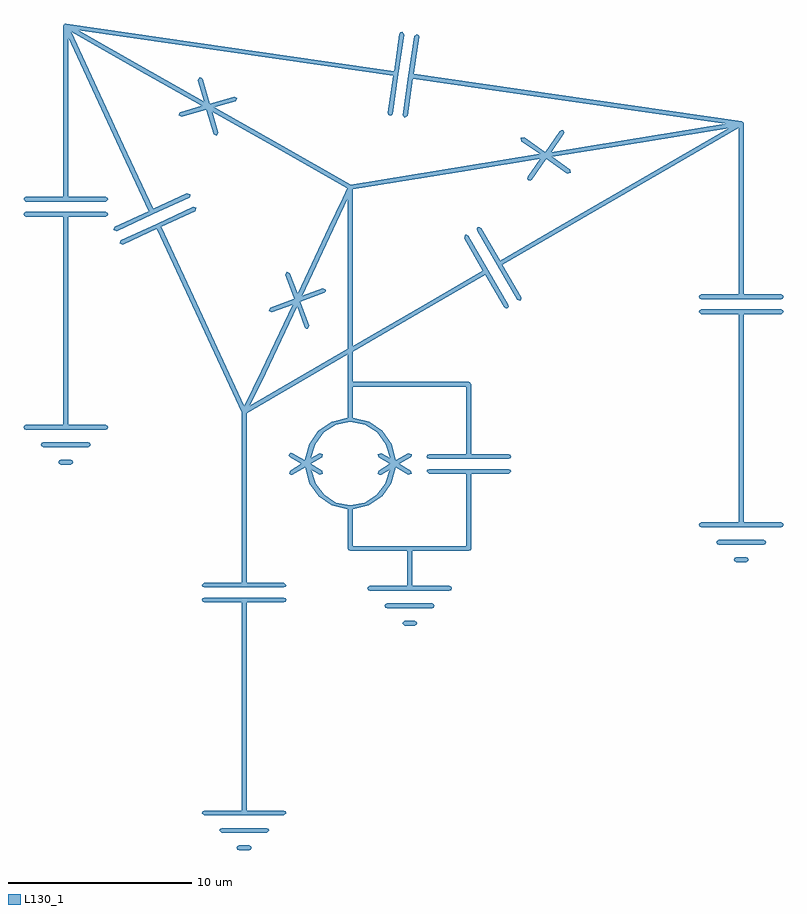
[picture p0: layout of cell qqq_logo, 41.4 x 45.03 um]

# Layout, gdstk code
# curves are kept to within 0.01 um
import gdstk
lib = gdstk.Library(unit=1e-6, precision=1e-09)
def P(c, l, *ps):  # polygons
    for p in ps: c.add(gdstk.Polygon(p, *l))
L130_1 = (130, 1)

qqq_logo = lib.new_cell('qqq_logo')
P(qqq_logo, L130_1, [(-4.965,-35.962),(-5.059,-35.923),(-5.098,-35.829),(-5.059,-35.735),(-4.965,-35.697),(-4.422,-35.697),(-4.328,-35.735),(-4.289,-35.829),(-4.328,-35.923),(-4.422,-35.962)],
  [(2.148,-21.827),(2.054,-21.788),(2.015,-21.694),(2.054,-21.6),(2.148,-21.561),(4.185,-21.561),(4.185,-19.657),(1.092,-19.657),(0.998,-19.618),(0.959,-19.524),(0.959,-17.386),(0.081,-17.172),(-0.634,-16.68),(-1.136,-15.969),(-1.371,-15.097),(-2.061,-15.503),(-2.161,-15.517),(-2.242,-15.456),(-2.195,-15.277),(-1.582,-14.915),(-2.195,-14.556),(-2.257,-14.475),(-2.242,-14.374),(-2.161,-14.313),(-2.061,-14.327),(-1.385,-14.726),(-1.157,-13.84),(-0.653,-13.118),(0.071,-12.619),(1.092,-12.611),(0.288,-12.768),(-0.366,-13.197),(-0.833,-13.834),(-1.075,-14.616),(-0.584,-14.327),(-0.403,-14.374),(-0.449,-14.556),(-1.063,-14.915),(-0.449,-15.277),(-0.403,-15.456),(-0.584,-15.503),(-1.051,-15.227),(-0.799,-15.987),(-0.336,-16.607),(0.305,-17.024),(1.092,-17.177),(1.879,-17.024),(2.52,-16.607),(2.984,-15.987),(3.236,-15.227),(2.769,-15.503),(2.669,-15.517),(2.588,-15.456),(2.634,-15.277),(3.248,-14.915),(2.634,-14.556),(2.588,-14.374),(2.769,-14.327),(3.259,-14.616),(3.018,-13.834),(2.55,-13.197),(1.895,-12.768),(1.092,-12.611),(0.104,-12.611),(0.959,-12.401),(0.959,-8.954),(-4.561,-12.153),(-4.561,-21.38),(-2.524,-21.38),(-2.391,-21.511),(-2.43,-21.605),(-2.524,-21.644),(-6.863,-21.644),(-6.957,-21.605),(-6.996,-21.511),(-6.863,-21.38),(-4.826,-21.38),(-4.826,-12.106),(-9.448,-2.116),(-11.295,-2.972),(-11.471,-2.907),(-11.407,-2.732),(-7.467,-0.909),(-7.291,-0.974),(-7.356,-1.149),(-9.207,-2.005),(-4.691,-11.769),(-3.764,-9.866),(-2.059,-6.233),(-3.186,-6.655),(-3.356,-6.577),(-3.278,-6.407),(-1.971,-5.919),(-2.459,-4.612),(-2.381,-4.442),(-2.211,-4.521),(-1.787,-5.657),(0.665,-0.439),(0.959,-0.439),(-1.543,-5.759),(-0.416,-5.339),(-0.246,-5.415),(-0.25,-5.517),(-0.325,-5.587),(-1.631,-6.075),(-1.143,-7.382),(-1.219,-7.552),(-1.322,-7.549),(-1.391,-7.473),(-1.815,-6.339),(-3.528,-9.981),(-4.385,-11.743),(0.959,-8.645),(0.959,-0.439),(0.665,-0.439),(0.92,0.104),(-6.442,4.273),(-6.108,3.116),(-6.197,2.952),(-6.362,3.042),(-6.75,4.384),(-8.09,3.995),(-8.254,4.085),(-8.242,4.186),(-8.163,4.249),(-6.998,4.587),(-14.119,8.618),(-9.659,-1.026),(-7.809,-0.171),(-7.633,-0.235),(-7.629,-0.337),(-7.697,-0.411),(-11.637,-2.233),(-11.813,-2.169),(-11.748,-1.993),(-9.899,-1.138),(-14.277,8.329),(-14.277,-0.368),(-12.24,-0.368),(-12.146,-0.407),(-12.108,-0.501),(-12.24,-0.632),(-16.581,-0.632),(-16.713,-0.501),(-16.675,-0.407),(-16.581,-0.368),(-14.543,-0.368),(-14.543,8.934),(-14.528,8.934),(-14.541,8.954),(-14.525,8.999),(-14.467,9.054),(-14.391,9.066),(3.47,6.485),(3.761,8.501),(3.813,8.589),(3.912,8.614),(4.023,8.464),(3.404,4.169),(3.353,4.081),(3.254,4.056),(3.166,4.107),(3.14,4.206),(3.432,6.223),(-13.733,8.702),(-6.877,4.821),(-7.211,5.977),(-7.121,6.142),(-7.02,6.13),(-6.957,6.05),(-6.569,4.71),(-5.229,5.098),(-5.065,5.008),(-5.154,4.845),(-6.321,4.507),(1.117,0.298),(11.394,1.968),(10.41,2.659),(10.378,2.843),(10.562,2.876),(11.705,2.073),(12.505,3.214),(12.591,3.269),(12.691,3.247),(12.745,3.161),(12.722,3.061),(12.025,2.069),(21.507,3.61),(4.5,6.067),(4.209,4.051),(4.058,3.94),(3.947,4.091),(4.255,6.237),(4.566,8.386),(4.716,8.497),(4.805,8.446),(4.83,8.347),(4.539,6.331),(22.4,3.751),(22.496,3.687),(22.514,3.62),(22.514,-5.683),(24.551,-5.683),(24.645,-5.722),(24.684,-5.816),(24.645,-5.91),(24.551,-5.948),(20.211,-5.948),(20.117,-5.91),(20.078,-5.816),(20.117,-5.722),(20.211,-5.683),(22.248,-5.683),(22.248,3.389),(9.377,-4.074),(10.398,-5.835),(10.411,-5.936),(10.35,-6.017),(10.17,-5.968),(7.992,-2.214),(7.979,-2.113),(8.041,-2.032),(8.142,-2.019),(8.223,-2.081),(9.244,-3.845),(21.695,3.374),(12.078,1.81),(13.062,1.118),(13.094,0.934),(12.91,0.901),(11.768,1.704),(10.967,0.563),(10.881,0.508),(10.781,0.53),(10.727,0.616),(10.749,0.716),(11.447,1.708),(1.224,0.046),(1.224,-8.493),(8.31,-4.386),(7.289,-2.622),(7.336,-2.441),(7.437,-2.427),(7.517,-2.489),(9.695,-6.243),(9.708,-6.344),(9.646,-6.425),(9.545,-6.438),(9.464,-6.376),(8.443,-4.614),(1.224,-8.8),(1.224,-10.446),(7.545,-10.446),(7.595,-10.458),(7.677,-10.579),(7.677,-14.38),(9.714,-14.38),(9.808,-14.419),(9.847,-14.513),(9.808,-14.607),(9.714,-14.646),(5.375,-14.646),(5.281,-14.607),(5.242,-14.513),(5.281,-14.419),(5.375,-14.38),(7.412,-14.38),(7.412,-10.712),(1.224,-10.712),(1.224,-12.401),(2.113,-12.619),(2.837,-13.118),(3.342,-13.84),(3.57,-14.726),(4.246,-14.327),(4.427,-14.374),(4.441,-14.475),(4.38,-14.556),(3.767,-14.915),(4.38,-15.277),(4.427,-15.456),(4.246,-15.503),(3.556,-15.097),(3.32,-15.969),(2.818,-16.68),(2.102,-17.172),(1.224,-17.386),(1.224,-19.392),(7.412,-19.392),(7.412,-15.458),(5.375,-15.458),(5.242,-15.327),(5.281,-15.233),(5.375,-15.194),(9.714,-15.194),(9.808,-15.233),(9.847,-15.327),(9.714,-15.458),(7.677,-15.458),(7.677,-19.524),(7.639,-19.618),(7.545,-19.657),(4.451,-19.657),(4.451,-21.561),(6.488,-21.561),(6.582,-21.6),(6.621,-21.694),(6.582,-21.788),(6.488,-21.827)],
  [(-5.915,-35.011),(-6.047,-34.88),(-6.009,-34.786),(-5.915,-34.747),(-3.473,-34.747),(-3.379,-34.786),(-3.34,-34.88),(-3.473,-35.011)],
  [(-6.863,-34.061),(-6.996,-33.931),(-6.957,-33.837),(-6.863,-33.798),(-4.826,-33.798),(-4.826,-22.458),(-6.863,-22.458),(-6.957,-22.419),(-6.996,-22.325),(-6.957,-22.231),(-6.863,-22.192),(-2.524,-22.192),(-2.43,-22.231),(-2.391,-22.325),(-2.43,-22.419),(-2.524,-22.458),(-4.561,-22.458),(-4.561,-33.798),(-2.524,-33.798),(-2.43,-33.837),(-2.391,-33.931),(-2.524,-34.061)],
  [(4.047,-23.726),(3.916,-23.593),(4.047,-23.46),(4.59,-23.46),(4.684,-23.499),(4.722,-23.593),(4.684,-23.687),(4.59,-23.726)],
  [(-16.581,-13.052),(-16.675,-13.013),(-16.713,-12.919),(-16.675,-12.825),(-16.581,-12.786),(-14.543,-12.786),(-14.543,-1.446),(-16.581,-1.446),(-16.675,-1.408),(-16.713,-1.314),(-16.675,-1.22),(-16.581,-1.181),(-12.24,-1.181),(-12.146,-1.22),(-12.108,-1.314),(-12.146,-1.408),(-12.24,-1.446),(-14.277,-1.446),(-14.277,-12.786),(-12.24,-12.786),(-12.146,-12.825),(-12.108,-12.919),(-12.146,-13.013),(-12.24,-13.052)],
  [(3.097,-22.776),(3.003,-22.738),(2.964,-22.644),(3.003,-22.55),(3.097,-22.511),(5.539,-22.511),(5.633,-22.55),(5.672,-22.644),(5.633,-22.738),(5.539,-22.776)],
  [(22.109,-20.265),(22.015,-20.226),(21.976,-20.132),(22.015,-20.038),(22.109,-19.999),(22.652,-19.999),(22.746,-20.038),(22.785,-20.132),(22.746,-20.226),(22.652,-20.265)],
  [(21.16,-19.316),(21.066,-19.277),(21.027,-19.183),(21.066,-19.089),(21.16,-19.05),(23.601,-19.05),(23.695,-19.089),(23.734,-19.183),(23.695,-19.277),(23.601,-19.316)],
  [(-15.631,-14.001),(-15.725,-13.962),(-15.764,-13.868),(-15.725,-13.774),(-15.631,-13.736),(-13.19,-13.736),(-13.096,-13.774),(-13.057,-13.868),(-13.096,-13.962),(-13.19,-14.001)],
  [(20.21,-18.366),(20.116,-18.328),(20.078,-18.233),(20.116,-18.139),(20.21,-18.101),(22.247,-18.101),(22.247,-6.761),(20.21,-6.761),(20.078,-6.63),(20.116,-6.536),(20.21,-6.497),(24.551,-6.497),(24.645,-6.536),(24.684,-6.63),(24.551,-6.761),(22.513,-6.761),(22.513,-18.101),(24.551,-18.101),(24.645,-18.139),(24.684,-18.233),(24.645,-18.328),(24.551,-18.366)],
  [(-14.682,-14.95),(-14.776,-14.912),(-14.815,-14.818),(-14.776,-14.724),(-14.682,-14.685),(-14.139,-14.685),(-14.045,-14.724),(-14.006,-14.818),(-14.045,-14.912),(-14.139,-14.95)])
qqq_logo.add(gdstk.FlexPath([(-4.965,-35.697),(-4.965,-35.697)], 0, ends="flush", simple_path=True, layer=130, datatype=1))  # L130_1
qqq_logo.add(gdstk.FlexPath([(-5.915,-34.747),(-5.915,-34.747)], 0, ends="flush", simple_path=True, layer=130, datatype=1))  # L130_1
qqq_logo.add(gdstk.FlexPath([(4.047,-23.46),(4.047,-23.46)], 0, ends="flush", simple_path=True, layer=130, datatype=1))  # L130_1
qqq_logo.add(gdstk.FlexPath([(3.097,-22.511),(3.097,-22.511)], 0, ends="flush", simple_path=True, layer=130, datatype=1))  # L130_1
qqq_logo.add(gdstk.FlexPath([(-6.863,-22.192),(-6.863,-22.192)], 0, ends="flush", simple_path=True, layer=130, datatype=1))  # L130_1
qqq_logo.add(gdstk.FlexPath([(22.109,-19.999),(22.109,-19.999)], 0, ends="flush", simple_path=True, layer=130, datatype=1))  # L130_1
qqq_logo.add(gdstk.FlexPath([(21.16,-19.05),(21.16,-19.05)], 0, ends="flush", simple_path=True, layer=130, datatype=1))  # L130_1
qqq_logo.add(gdstk.FlexPath([(-14.682,-14.685),(-14.682,-14.685)], 0, ends="flush", simple_path=True, layer=130, datatype=1))  # L130_1
qqq_logo.add(gdstk.FlexPath([(-15.631,-13.736),(-15.631,-13.736)], 0, ends="flush", simple_path=True, layer=130, datatype=1))  # L130_1
qqq_logo.add(gdstk.FlexPath([(1.092,-12.611),(1.092,-12.611)], 0, ends="flush", simple_path=True, layer=130, datatype=1))  # L130_1
qqq_logo.add(gdstk.FlexPath([(20.21,-6.497),(20.21,-6.497)], 0, ends="flush", simple_path=True, layer=130, datatype=1))  # L130_1
qqq_logo.add(gdstk.FlexPath([(-16.581,-1.181),(-16.581,-1.181)], 0, ends="flush", simple_path=True, layer=130, datatype=1))  # L130_1
qqq_logo.add(gdstk.FlexPath([(0.959,-0.439),(0.959,-0.439)], 0, ends="flush", simple_path=True, layer=130, datatype=1))  # L130_1
qqq_logo.add(gdstk.FlexPath([(-14.391,9.066),(-14.391,9.066)], 0, ends="flush", simple_path=True, layer=130, datatype=1))  # L130_1

lib.write_gds('qqq_logo.gds')
